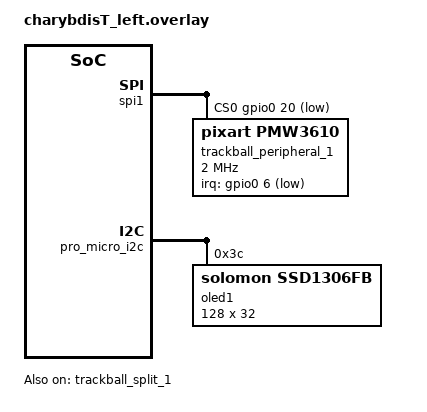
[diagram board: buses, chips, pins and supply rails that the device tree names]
#include "charybdisT.dtsi"
#include "charybdisT_pmw3610.dtsi"
#include "common_keyboard.dtsi"
#include "split_input_left.dtsi"
&kscan0 {
    compatible = "zmk,kscan-gpio-matrix";
    col-gpios
        = <&gpio0 31 GPIO_ACTIVE_HIGH>
        , <&gpio0 29 GPIO_ACTIVE_HIGH>
        , <&gpio0 02 GPIO_ACTIVE_HIGH>
        , <&gpio1 15 GPIO_ACTIVE_HIGH>
        , <&gpio1 13 GPIO_ACTIVE_HIGH>
        , <&gpio1 11 GPIO_ACTIVE_HIGH>
        ;
    row-gpios
        = <&gpio0 11 (GPIO_ACTIVE_HIGH | GPIO_PULL_DOWN)>
        , <&gpio1 04 (GPIO_ACTIVE_HIGH | GPIO_PULL_DOWN)>
        , <&gpio1 06 (GPIO_ACTIVE_HIGH | GPIO_PULL_DOWN)>
        , <&gpio1 01 (GPIO_ACTIVE_HIGH | GPIO_PULL_DOWN)>
        , <&gpio1 02 (GPIO_ACTIVE_HIGH | GPIO_PULL_DOWN)>
        , <&gpio1 07 (GPIO_ACTIVE_HIGH | GPIO_PULL_DOWN)>
        ;
};
 / {
     chosen {
        zephyr,display = &oled1;
     };
};

#include <zephyr/dt-bindings/input/input-event-codes.h>
&spi1 {
    status = "okay";
    compatible = "nordic,nrf-spim";
    pinctrl-0 = <&spi1_default>;
    pinctrl-1 = <&spi1_sleep>;
    pinctrl-names = "default", "sleep";
    cs-gpios = <&gpio0 20 GPIO_ACTIVE_LOW>;

    trackball_peripheral_1: trackball_peripheral_1@0 {
        status = "okay";
        compatible = "pixart,pmw3610";
        reg = <0>;
        spi-max-frequency = <2000000>;
        irq-gpios = <&gpio0 6 (GPIO_ACTIVE_LOW | GPIO_PULL_UP)>;
        cpi = <600>;
        evt-type = <INPUT_EV_REL>;
        x-input-code = <INPUT_REL_X>;
        y-input-code = <INPUT_REL_Y>;
        force-awake;
    };
};

// Overrides for the input-split child node
&trackball_split_1 {
    status = "okay";
    device = <&trackball_peripheral_1>;
};
//add oled
&pro_micro_i2c {
    status = "okay";

    oled1: ssd1306@3c {
        compatible = "solomon,ssd1306fb";
        reg = <0x3c>;
        width = <128>;
        height = <32>;
        segment-offset = <0>;
        page-offset = <0>;
        display-offset = <0>;
        multiplex-ratio = <31>;
        segment-remap;
        com-invdir;
        com-sequential;
        prechargep = <0x22>;
    };
};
